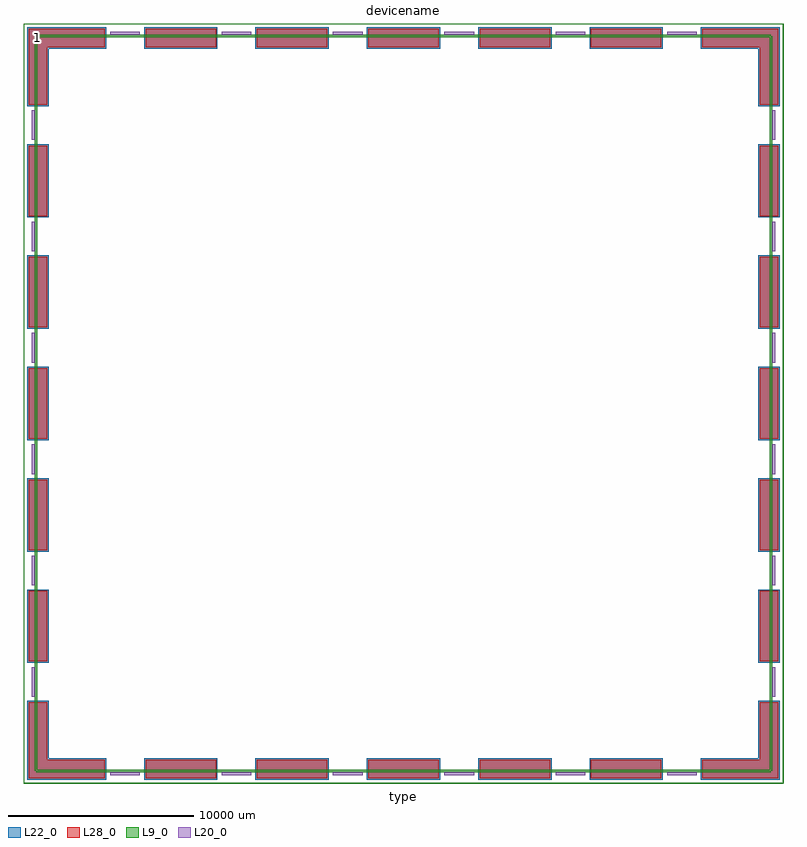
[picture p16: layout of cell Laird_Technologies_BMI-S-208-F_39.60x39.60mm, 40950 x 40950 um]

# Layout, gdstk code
import gdstk
lib = gdstk.Library(unit=1e-6, precision=1e-09)
def R(c, l, rs):  # rectangles x0, y0, x1, y1
    for r in rs: c.add(gdstk.rectangle(r[:2], r[2:], *l))
def A(c, l, x, y, w, h, nx, ny, dx, dy):  # array of equal rectangles
    R(c, l, [(x+i*dx, y+j*dy, x+i*dx+w, y+j*dy+h) for i in range(nx) for j in range(ny)])
L9_0 = (9, 0)
L20_0 = (20, 0)
L22_0 = (22, 0)
L28_0 = (28, 0)

laird_technologies_bmi_s = lib.new_cell('Laird_Technologies_BMI-S-208-F_39.60x39.60mm')
A(laird_technologies_bmi_s, L22_0, -13975, -20275, 3950, 1150, 5, 2, 6000, 39400)
A(laird_technologies_bmi_s, L22_0, -20275, -13975, 1150, 3950, 1, 5, 0, 6000)
A(laird_technologies_bmi_s, L22_0, 19125, -13975, 1150, 3950, 1, 5, 0, 6000)
R(laird_technologies_bmi_s, L22_0, [(-20275,-20275,-19125,-19125), (-19275,-20275,-16025,-19125), (16025,-20275,19275,-19125), (19125,-20275,20275,-19125), (-20275,-19275,-19125,-16025), (19125,-19275,20275,-16025), (-20275,16025,-19125,19275), (19125,16025,20275,19275), (-20275,19125,-19125,20275), (-19275,19125,-16025,20275), (16025,19125,19275,20275), (19125,19125,20275,20275)])
A(laird_technologies_bmi_s, L28_0, -13900, -20200, 3800, 1000, 5, 2, 6000, 39400)
A(laird_technologies_bmi_s, L28_0, -20200, -13900, 1000, 3800, 1, 5, 0, 6000)
A(laird_technologies_bmi_s, L28_0, 19200, -13900, 1000, 3800, 1, 5, 0, 6000)
R(laird_technologies_bmi_s, L28_0, [(-20200,-20200,-19200,-19200), (-19200,-20200,-16100,-19200), (16100,-20200,19200,-19200), (19200,-20200,20200,-19200), (-20200,-19200,-19200,-16100), (19200,-19200,20200,-16100), (-20200,16100,-19200,19200), (19200,16100,20200,19200), (-20200,19200,-19200,20200), (-19200,19200,-16100,20200), (16100,19200,19200,20200), (19200,19200,20200,20200)])
laird_technologies_bmi_s.add(gdstk.FlexPath([(19950,-14200),(19950,-15800)], 149.998, ends="flush", simple_path=True, layer=20, datatype=0))  # L20_0
laird_technologies_bmi_s.add(gdstk.FlexPath([(-19950,-14200),(-19950,-15800)], 149.998, ends="flush", simple_path=True, layer=20, datatype=0))  # L20_0
laird_technologies_bmi_s.add(gdstk.FlexPath([(19950,-8200),(19950,-9800)], 149.998, ends="flush", simple_path=True, layer=20, datatype=0))  # L20_0
laird_technologies_bmi_s.add(gdstk.FlexPath([(-19950,-8200),(-19950,-9800)], 149.998, ends="flush", simple_path=True, layer=20, datatype=0))  # L20_0
laird_technologies_bmi_s.add(gdstk.FlexPath([(19950,-2200),(19950,-3800)], 149.998, ends="flush", simple_path=True, layer=20, datatype=0))  # L20_0
laird_technologies_bmi_s.add(gdstk.FlexPath([(-19950,-2200),(-19950,-3800)], 149.998, ends="flush", simple_path=True, layer=20, datatype=0))  # L20_0
laird_technologies_bmi_s.add(gdstk.FlexPath([(19950,3800),(19950,2200)], 149.998, ends="flush", simple_path=True, layer=20, datatype=0))  # L20_0
laird_technologies_bmi_s.add(gdstk.FlexPath([(-19950,3800),(-19950,2200)], 149.998, ends="flush", simple_path=True, layer=20, datatype=0))  # L20_0
laird_technologies_bmi_s.add(gdstk.FlexPath([(19950,9800),(19950,8200)], 149.998, ends="flush", simple_path=True, layer=20, datatype=0))  # L20_0
laird_technologies_bmi_s.add(gdstk.FlexPath([(-19950,9800),(-19950,8200)], 149.998, ends="flush", simple_path=True, layer=20, datatype=0))  # L20_0
laird_technologies_bmi_s.add(gdstk.FlexPath([(19950,15800),(19950,14200)], 149.998, ends="flush", simple_path=True, layer=20, datatype=0))  # L20_0
laird_technologies_bmi_s.add(gdstk.FlexPath([(-19950,15800),(-19950,14200)], 149.998, ends="flush", simple_path=True, layer=20, datatype=0))  # L20_0
laird_technologies_bmi_s.add(gdstk.FlexPath([(14200,-19950),(15800,-19950)], 149.998, ends="flush", simple_path=True, layer=20, datatype=0))  # L20_0
laird_technologies_bmi_s.add(gdstk.FlexPath([(14200,19950),(15800,19950)], 149.998, ends="flush", simple_path=True, layer=20, datatype=0))  # L20_0
laird_technologies_bmi_s.add(gdstk.FlexPath([(8200,-19950),(9800,-19950)], 149.998, ends="flush", simple_path=True, layer=20, datatype=0))  # L20_0
laird_technologies_bmi_s.add(gdstk.FlexPath([(8200,19950),(9800,19950)], 149.998, ends="flush", simple_path=True, layer=20, datatype=0))  # L20_0
laird_technologies_bmi_s.add(gdstk.FlexPath([(2200,-19950),(3800,-19950)], 149.998, ends="flush", simple_path=True, layer=20, datatype=0))  # L20_0
laird_technologies_bmi_s.add(gdstk.FlexPath([(2200,19950),(3800,19950)], 149.998, ends="flush", simple_path=True, layer=20, datatype=0))  # L20_0
laird_technologies_bmi_s.add(gdstk.FlexPath([(-3800,-19950),(-2200,-19950)], 149.998, ends="flush", simple_path=True, layer=20, datatype=0))  # L20_0
laird_technologies_bmi_s.add(gdstk.FlexPath([(-3800,19950),(-2200,19950)], 149.998, ends="flush", simple_path=True, layer=20, datatype=0))  # L20_0
laird_technologies_bmi_s.add(gdstk.FlexPath([(-9800,-19950),(-8200,-19950)], 149.998, ends="flush", simple_path=True, layer=20, datatype=0))  # L20_0
laird_technologies_bmi_s.add(gdstk.FlexPath([(-9800,19950),(-8200,19950)], 149.998, ends="flush", simple_path=True, layer=20, datatype=0))  # L20_0
laird_technologies_bmi_s.add(gdstk.FlexPath([(-15800,-19950),(-14200,-19950)], 149.998, ends="flush", simple_path=True, layer=20, datatype=0))  # L20_0
laird_technologies_bmi_s.add(gdstk.FlexPath([(-15800,19950),(-14200,19950)], 149.998, ends="flush", simple_path=True, layer=20, datatype=0))  # L20_0
laird_technologies_bmi_s.add(gdstk.FlexPath([(19800,19800),(-19800,19800)], 149.998, ends="flush", simple_path=True, layer=9, datatype=0))  # L9_0
laird_technologies_bmi_s.add(gdstk.FlexPath([(19800,-19800),(19800,19800)], 149.998, ends="flush", simple_path=True, layer=9, datatype=0))  # L9_0
laird_technologies_bmi_s.add(gdstk.FlexPath([(-19800,-19800),(19800,-19800)], 149.998, ends="flush", simple_path=True, layer=9, datatype=0))  # L9_0
laird_technologies_bmi_s.add(gdstk.FlexPath([(-19800,19800),(-19800,-19800)], 149.998, ends="flush", simple_path=True, layer=9, datatype=0))  # L9_0
laird_technologies_bmi_s.add(gdstk.FlexPath([(20450,20450),(-20450,20450)], 50, ends="flush", simple_path=True, layer=9, datatype=0))  # L9_0
laird_technologies_bmi_s.add(gdstk.FlexPath([(20450,-20450),(20450,20450)], 50, ends="flush", simple_path=True, layer=9, datatype=0))  # L9_0
laird_technologies_bmi_s.add(gdstk.FlexPath([(-20450,-20450),(20450,-20450)], 50, ends="flush", simple_path=True, layer=9, datatype=0))  # L9_0
laird_technologies_bmi_s.add(gdstk.FlexPath([(-20450,20450),(-20450,-20450)], 50, ends="flush", simple_path=True, layer=9, datatype=0))  # L9_0
laird_technologies_bmi_s.add(gdstk.Label('1', (-19700,19700), layer=28, texttype=0))
laird_technologies_bmi_s.add(gdstk.Label('type', (0,-21200), layer=9, texttype=0))
laird_technologies_bmi_s.add(gdstk.Label('devicename', (0,21200), layer=9, texttype=0))

lib.write_gds('Laird_Technologies_BMI-S-208-F_39.60x39.60mm.gds')
